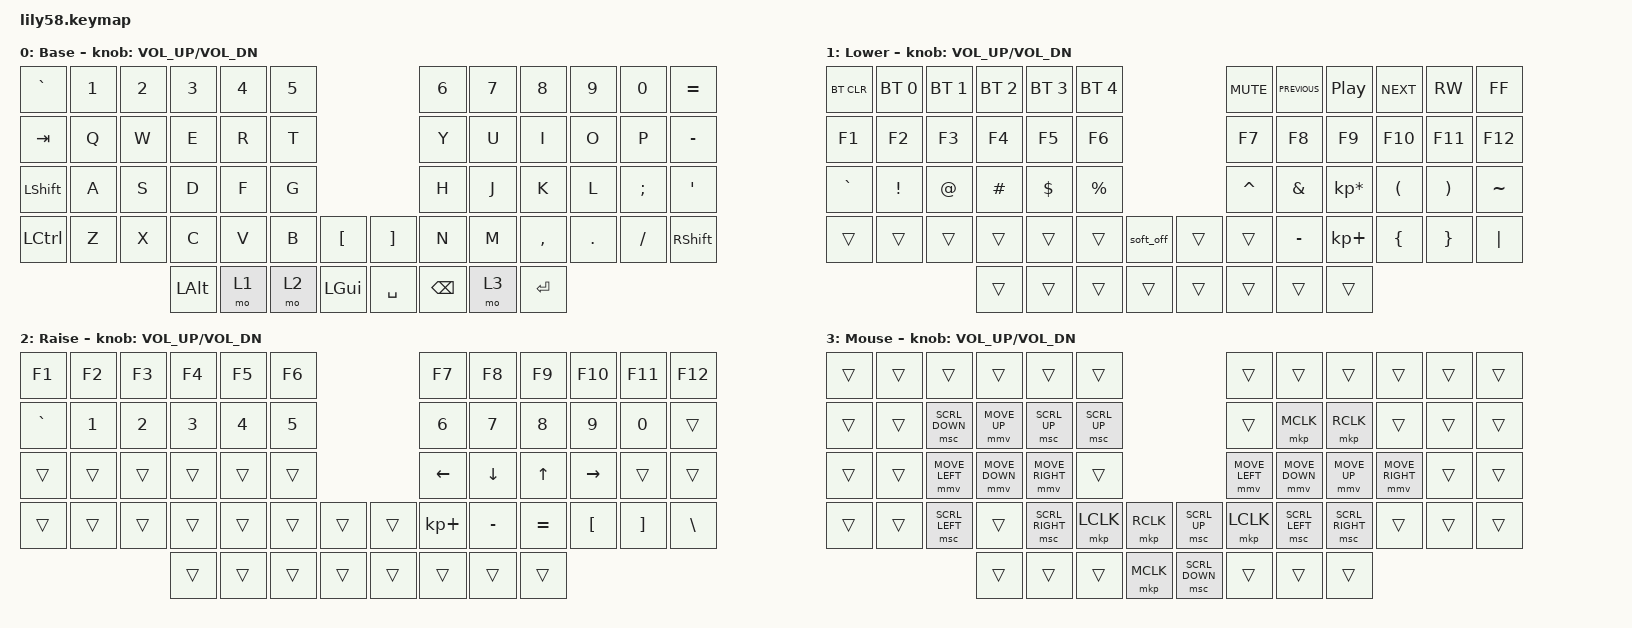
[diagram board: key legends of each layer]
/*
 * Copyright (c) 2020 The ZMK Contributors
 *
 * SPDX-License-Identifier: MIT
 */

#include <behaviors.dtsi>
#include <dt-bindings/zmk/bt.h>
#include <dt-bindings/zmk/keys.h>
#include <dt-bindings/zmk/pointing.h>

&soft_off {
    hold-time-ms = <3000>; // Only turn off it the key is held for 5 seconds or longer.
};

&soft_off { /delete-property/ split-peripheral-off-on-press; };

/ {
    combos {
        compatible = "zmk,combos";

        combo_return {
            bindings = <&kp RETURN>;
            key-positions = <32 33 31>;
        };

        combo_esc {
            bindings = <&kp ESC>;
            key-positions = <28 27 26>;
        };

        combo_bksp {
            bindings = <&kp BACKSPACE>;
            key-positions = <11 10>;
        };
    };

    keymap {
        compatible = "zmk,keymap";

        default_layer {
            // ------------------------------------------------------------------------------------------------------------
            // |  ESC  |  1  |  2  |  3   |  4   |  5   |                   |  6   |  7    |  8    |  9   |   0   |   `   |
            // |  TAB  |  Q  |  W  |  E   |  R   |  T   |                   |  Y   |  U    |  I    |  O   |   P   |   -   |
            // |  CTRL |  A  |  S  |  D   |  F   |  G   |                   |  H   |  J    |  K    |  L   |   ;   |   '   |
            // | SHIFT |  Z  |  X  |  C   |  V   |  B   |   "["  |  |  "]"  |  N   |  M    |  ,    |  .   |   /   | SHIFT |
            //                     | ALT  | GUI  | LOWER|  SPACE |  | ENTER | RAISE| BSPC  | GUI   |

            display-name = "Base";
            bindings = <
&kp GRAVE         &kp N1  &kp N2  &kp N3    &kp N4  &kp N5                             &kp N6    &kp N7  &kp N8      &kp N9   &kp N0    &kp EQUAL
&kp TAB           &kp Q   &kp W   &kp E     &kp R   &kp T                              &kp Y     &kp U   &kp I       &kp O    &kp P     &kp MINUS
&kp LEFT_SHIFT    &kp A   &kp S   &kp D     &kp F   &kp G                              &kp H     &kp J   &kp K       &kp L    &kp SEMI  &kp SQT
&kp LEFT_CONTROL  &kp Z   &kp X   &kp C     &kp V   &kp B   &kp LBKT        &kp RBKT   &kp N     &kp M   &kp COMMA   &kp DOT  &kp FSLH  &kp RSHFT
                                  &kp LALT  &mo 1   &mo 2   &kp LEFT_GUI    &kp SPACE  &kp BSPC  &mo 3   &kp RETURN
            >;

            sensor-bindings = <&inc_dec_kp C_VOL_UP C_VOL_DN>;
        };

        lower_layer {
            // ------------------------------------------------------------------------------------------------------------
            // | BTCLR | BT1 | BT2 |  BT3 |  BT4 |  BT5 |                   |      |       |       |      |       |       |
            // |  F1   |  F2 |  F3 |  F4  |  F5  |  F6  |                   |  F7  |  F8   |  F9   |  F10 |  F11  |  F12  |
            // |   `   |  !  |  @  |  #   |  $   |  %   |                   |  ^   |  &    |  *    |  (   |   )   |   ~   |
            // |       |     |     |      |      |      |        |  |       |      |  _    |  +    |  {   |   }   |  "|"  |
            //                     |      |      |      |        |  |       |      |       |       |

            display-name = "Lower";
            bindings = <
&bt BT_CLR  &bt BT_SEL 0  &bt BT_SEL 1  &bt BT_SEL 2  &bt BT_SEL 3  &bt BT_SEL 4                       &kp C_MUTE  &kp C_PREVIOUS  &kp C_PLAY_PAUSE  &kp C_NEXT  &kp C_RW  &kp C_FF
&kp F1      &kp F2        &kp F3        &kp F4        &kp F5        &kp F6                             &kp F7      &kp F8          &kp F9            &kp F10     &kp F11   &kp F12
&kp GRAVE   &kp EXCL      &kp AT        &kp HASH      &kp DOLLAR    &kp PRCNT                          &kp CARET   &kp AMPS        &kp KP_MULTIPLY   &kp LPAR    &kp RPAR  &kp TILDE
&trans      &trans        &trans        &trans        &trans        &trans        &soft_off    &trans  &trans      &kp MINUS       &kp KP_PLUS       &kp LBRC    &kp RBRC  &kp PIPE
                                        &trans        &trans        &trans        &trans       &trans  &trans      &trans          &trans
            >;

            sensor-bindings = <&inc_dec_kp C_VOL_UP C_VOL_DN>;
        };

        raise_layer {
            // ------------------------------------------------------------------------------------------------------------
            // |       |     |     |      |      |      |                   |      |       |       |      |       |       |
            // |   `   |  1  |  2  |  3   |  4   |  5   |                   |  6   |   7   |   8   |  9   |   0   |       |
            // |   F1  |  F2 |  F3 |  F4  |  F5  |  F6  |                   |      |   <-  |   v   |  ^   |  ->   |       |
            // |   F7  |  F8 |  F9 |  F10 |  F11 |  F12 |        |  |       |  +   |   -   |   =   |  [   |   ]   |   \   |
            //                     |      |      |      |        |  |       |      |       |       |

            display-name = "Raise";
            bindings = <
&kp F1     &kp F2  &kp F3  &kp F4  &kp F5  &kp F6                    &kp F7       &kp F8     &kp F9     &kp F10    &kp F11   &kp F12
&kp GRAVE  &kp N1  &kp N2  &kp N3  &kp N4  &kp N5                    &kp N6       &kp N7     &kp N8     &kp N9     &kp N0    &trans
&trans     &trans  &trans  &trans  &trans  &trans                    &kp LEFT     &kp DOWN   &kp UP     &kp RIGHT  &trans    &trans
&trans     &trans  &trans  &trans  &trans  &trans  &trans    &trans  &kp KP_PLUS  &kp MINUS  &kp EQUAL  &kp LBKT   &kp RBKT  &kp BSLH
                           &trans  &trans  &trans  &trans    &trans  &trans       &trans     &trans
            >;

            sensor-bindings = <&inc_dec_kp C_VOL_UP C_VOL_DN>;
        };

        mouse_layer {
            display-name = "Mouse";
            bindings = <
&trans  &trans  &trans          &trans          &trans           &trans                                     &trans          &trans          &trans           &trans           &trans  &trans
&trans  &trans  &msc SCRL_DOWN  &mmv MOVE_UP    &msc SCRL_UP     &msc SCRL_UP                               &trans          &mkp MCLK       &mkp RCLK        &trans           &trans  &trans
&trans  &trans  &mmv MOVE_LEFT  &mmv MOVE_DOWN  &mmv MOVE_RIGHT  &trans                                     &mmv MOVE_LEFT  &mmv MOVE_DOWN  &mmv MOVE_UP     &mmv MOVE_RIGHT  &trans  &trans
&trans  &trans  &msc SCRL_LEFT  &trans          &msc SCRL_RIGHT  &mkp LCLK     &mkp RCLK    &msc SCRL_UP    &mkp LCLK       &msc SCRL_LEFT  &msc SCRL_RIGHT  &trans           &trans  &trans
                                &trans          &trans           &trans        &mkp MCLK    &msc SCRL_DOWN  &trans          &trans          &trans
            >;

            sensor-bindings = <&inc_dec_kp C_VOL_UP C_VOL_DN>;
        };
    };
};
